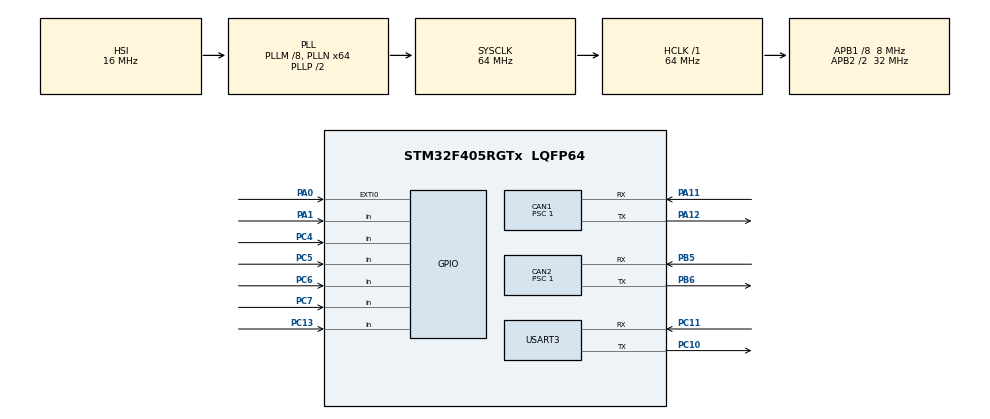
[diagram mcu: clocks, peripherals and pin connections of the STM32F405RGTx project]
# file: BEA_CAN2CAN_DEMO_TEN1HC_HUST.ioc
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CAN1.BS1=CAN_BS1_11TQ
CAN1.BS2=CAN_BS2_4TQ
CAN1.CalculateBaudRate=500000
CAN1.CalculateTimeBit=2000
CAN1.CalculateTimeQuantum=125.0
CAN1.Prescaler=1
CAN1.SJW=CAN_SJW_2TQ
CAN2.BS1=CAN_BS1_11TQ
CAN2.BS2=CAN_BS2_4TQ
CAN2.CalculateBaudRate=500000
CAN2.CalculateTimeBit=2000
CAN2.CalculateTimeQuantum=125.0
CAN2.Prescaler=1
CAN2.SJW=CAN_SJW_2TQ
Mcu.Family=STM32F4
Mcu.Name=STM32F405RGTx
Mcu.Package=LQFP64
NVIC.CAN1_RX0_IRQn=true\:2\:0\:true\:false\:true\:true\:true\:true
NVIC.CAN2_RX0_IRQn=true\:2\:0\:true\:false\:true\:true\:true\:true
NVIC.EXTI0_IRQn=true\:1\:0\:true\:false\:true\:true\:true\:true
NVIC.PriorityGroup=NVIC_PRIORITYGROUP_4
NVIC.TIM2_IRQn=true\:0\:0\:false\:false\:true\:true\:true\:true
NVIC.USART3_IRQn=true\:1\:0\:true\:false\:true\:true\:true\:true
PA0-WKUP.GPIO_ModeDefaultEXTI=GPIO_MODE_IT_FALLING
PA0-WKUP.GPIO_PuPd=GPIO_PULLUP
PA0-WKUP.Signal=GPXTI0
PA1.Signal=GPIO_Input
PA11.Mode=CAN_Activate
PA11.Signal=CAN1_RX
PA12.Mode=CAN_Activate
PA12.Signal=CAN1_TX
PB5.Mode=CAN_Activate
PB5.Signal=CAN2_RX
PB6.Mode=CAN_Activate
PB6.Signal=CAN2_TX
PC10.Mode=Asynchronous
PC10.Signal=USART3_TX
PC11.Mode=Asynchronous
PC11.Signal=USART3_RX
PC13-ANTI_TAMP.GPIO_PuPd=GPIO_PULLUP
PC13-ANTI_TAMP.Signal=GPIO_Input
PC4.GPIO_PuPd=GPIO_PULLUP
PC4.Signal=GPIO_Input
PC5.GPIO_PuPd=GPIO_PULLUP
PC5.Signal=GPIO_Input
PC6.GPIO_PuPd=GPIO_PULLUP
PC6.Signal=GPIO_Input
PC7.GPIO_PuPd=GPIO_PULLUP
PC7.Signal=GPIO_Input
PH0-OSC_IN.Mode=HSE-External-Oscillator
PH0-OSC_IN.Signal=RCC_OSC_IN
PH1-OSC_OUT.Mode=HSE-External-Oscillator
PH1-OSC_OUT.Signal=RCC_OSC_OUT
ProjectManager.HeapSize=0x200
ProjectManager.StackSize=0x400
ProjectManager.TargetToolchain=Makefile
RCC.48MHZClocksFreq_Value=32000000
RCC.AHBFreq_Value=64000000
RCC.APB1CLKDivider=RCC_HCLK_DIV8
RCC.APB1Freq_Value=8000000
RCC.APB1TimFreq_Value=16000000
RCC.APB2CLKDivider=RCC_HCLK_DIV2
RCC.APB2Freq_Value=32000000
RCC.APB2TimFreq_Value=64000000
RCC.CortexFreq_Value=64000000
RCC.HCLKFreq_Value=64000000
RCC.HSE_VALUE=8000000
RCC.HSI_VALUE=16000000
RCC.LSE_VALUE=32768
RCC.PLLM=8
RCC.PLLN=64
RCC.SYSCLKFreq_VALUE=64000000
RCC.SYSCLKSource=RCC_SYSCLKSOURCE_PLLCLK
RCC.VCOOutputFreq_Value=128000000
TIM2.Period=49999
TIM2.Prescaler=7999
USART3.VirtualMode=VM_ASYNC
VP_TIM2_VS_ClockSourceINT.Mode=Internal
board=custom

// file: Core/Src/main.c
/* USER CODE BEGIN Header */
/**
 ******************************************************************************
 * @file           : main.c
 * @brief          : Main program body
 ******************************************************************************
 * @attention
 *
 * Copyright (c) 2024 STMicroelectronics.
 * All rights reserved.
 *
 * This software is licensed under terms that can be found in the LICENSE file
 * in the root directory of this software component.
 * If no LICENSE file comes with this software, it is provided AS-IS.
 *
 ******************************************************************************
 */
/* USER CODE END Header */
#include "main.h"
#include "UDS.h"

CAN_HandleTypeDef hcan1;
CAN_HandleTypeDef hcan2;

TIM_HandleTypeDef htim2;

UART_HandleTypeDef huart3;

/* USER CODE BEGIN PV */
uint8_t uart3_receive;

CAN_TxHeaderTypeDef CAN1_pHeader;
CAN_RxHeaderTypeDef CAN1_pHeaderRx;
CAN_FilterTypeDef CAN1_sFilterConfig;
CAN_TxHeaderTypeDef CAN2_pHeader;
CAN_RxHeaderTypeDef CAN2_pHeaderRx;
CAN_FilterTypeDef CAN2_sFilterConfig;
uint32_t CAN1_pTxMailbox;
uint32_t CAN2_pTxMailbox;

uint16_t NumBytesReq = 0;
uint8_t REQ_BUFFER[4096];
uint8_t REQ_1BYTE_DATA;

uint8_t CAN1_DATA_TX[8] = {0x00, 0x00, 0x00, 0x00, 0x00, 0x00, 0x00, 0x00};
uint8_t CAN1_DATA_RX[8] = {0x00, 0x00, 0x00, 0x00, 0x00, 0x00, 0x00, 0x00};
uint8_t CAN2_DATA_TX[8] = {0x00, 0x00, 0x00, 0x00, 0x00, 0x00, 0x00, 0x00};
uint8_t CAN2_DATA_RX[8] = {0x00, 0x00, 0x00, 0x00, 0x00, 0x00, 0x00, 0x00};

// uint16_t Num_Consecutive_Tester;
// uint8_t Flg_Consecutive = 0;
volatile uint8_t flag_CAN1_Received = 0;
volatile uint8_t flag_CAN2_Received = 0;

unsigned int TimeStamp;
// maximum characters send out via UART is 30
char bufsend[30] = "XXX: D1 D2 D3 D4 D5 D6 D7 D8  ";

/* USER CODE END PV */

void SystemClock_Config(void);
static void MX_GPIO_Init(void);
static void MX_CAN1_Init(void);
static void MX_CAN2_Init(void);
static void MX_USART3_UART_Init(void);
static void MX_TIM2_Init(void);
/* USER CODE BEGIN PFP */

// CAN setup and config functions
void MX_CAN1_Setup();
void MX_CAN2_Setup();
void CAN1_Config();
void CAN2_Config();

// UART send and display functions
void PrintCANLog(uint16_t CANID, uint8_t *CAN_Frame);

void HAL_UART_RxCpltCallback(UART_HandleTypeDef *huart);
/* USER CODE END PFP */

int main(void)
{

  /* MCU Configuration--------------------------------------------------------*/

  /* Reset of all peripherals, Initializes the Flash interface and the Systick. */
  HAL_Init();

  /* Configure the system clock */
  SystemClock_Config();

  /* Initialize all configured peripherals */
  MX_GPIO_Init();
  MX_CAN1_Init();
  MX_CAN2_Init();
  MX_USART3_UART_Init();
  MX_TIM2_Init();
  /* USER CODE BEGIN 2 */
  MX_CAN1_Setup();
  MX_CAN2_Setup();
  CAN1_Config();
  CAN2_Config();

  __HAL_UART_ENABLE_IT(&huart3, UART_IT_RXNE);

  USART3_SendString((uint8_t *)"Coder Lazada\n");
  while (1)
  {
    if (NumBytesReq != 0)
    {
      HAL_Delay(100);
      UART_ReadString(REQ_BUFFER, CAN1_DATA_TX, NumBytesReq);
      CAN1_Send();
      HAL_Delay(100);
      NumBytesReq = 0;
    }

    if (flag_CAN2_Received)
    {
      switch (REQ_BUFFER[0])
      {
      case 0x27:
        SID27_Practice(CAN2_DATA_TX, CAN2_DATA_RX);
        break;
      case 0x22:
        SID22_Practice(CAN2_DATA_TX, CAN2_DATA_RX);
        break;
      case 0x2E:
        SID2E_Practice(CAN2_DATA_TX, CAN2_DATA_RX);
        break;
      default:
        USART3_SendString((uint8_t *)"Service not support\n");
        break;
      }
      flag_CAN2_Received = 0;
    }
    if (flag_CAN1_Received)
    {
      USART3_SendString((uint8_t *)"ECU Response: ");
      PrintCANLog(CAN1_pHeaderRx.StdId, CAN1_DATA_RX);
      flag_CAN1_Received = 0;
    }
    if (!BtnU) /*IG OFF->ON stimulation*/
    {
      HAL_Delay(20);
      USART3_SendString((uint8_t *)"IG OFF ");
      while (!BtnU)
        ;
      CAN1_pHeader.StdId = newStdId;
      CAN2_Config();
      MX_CAN1_Setup();
      MX_CAN2_Setup();
      USART3_SendString((uint8_t *)"-> IG ON \n");
      HAL_Delay(20);
    }
  }

  /* USER CODE END 2 */

  /* Infinite loop */
  /* USER CODE BEGIN WHILE */
  // while (1)
  // {
  /* USER CODE END WHILE */

  /* USER CODE BEGIN 3 */
  // }
  memset(REQ_BUFFER, 0, sizeof(REQ_BUFFER));
  NumBytesReq = 0;
  /* USER CODE END 3 */
}

void SystemClock_Config(void)
{
  RCC_OscInitTypeDef RCC_OscInitStruct = {0};
  RCC_ClkInitTypeDef RCC_ClkInitStruct = {0};

  /** Configure the main internal regulator output voltage
   */
  __HAL_RCC_PWR_CLK_ENABLE();
  __HAL_PWR_VOLTAGESCALING_CONFIG(PWR_REGULATOR_VOLTAGE_SCALE1);

  /** Initializes the RCC Oscillators according to the specified parameters
   * in the RCC_OscInitTypeDef structure.
   */
  RCC_OscInitStruct.OscillatorType = RCC_OSCILLATORTYPE_HSI;
  RCC_OscInitStruct.HSIState = RCC_HSI_ON;
  RCC_OscInitStruct.HSICalibrationValue = RCC_HSICALIBRATION_DEFAULT;
  RCC_OscInitStruct.PLL.PLLState = RCC_PLL_ON;
  RCC_OscInitStruct.PLL.PLLSource = RCC_PLLSOURCE_HSI;
  RCC_OscInitStruct.PLL.PLLM = 8;
  RCC_OscInitStruct.PLL.PLLN = 64;
  RCC_OscInitStruct.PLL.PLLP = RCC_PLLP_DIV2;
  RCC_OscInitStruct.PLL.PLLQ = 4;
  if (HAL_RCC_OscConfig(&RCC_OscInitStruct) != HAL_OK)
  {
    Error_Handler();
  }

  /** Initializes the CPU, AHB and APB buses clocks
   */
  RCC_ClkInitStruct.ClockType = RCC_CLOCKTYPE_HCLK | RCC_CLOCKTYPE_SYSCLK | RCC_CLOCKTYPE_PCLK1 | RCC_CLOCKTYPE_PCLK2;
  RCC_ClkInitStruct.SYSCLKSource = RCC_SYSCLKSOURCE_PLLCLK;
  RCC_ClkInitStruct.AHBCLKDivider = RCC_SYSCLK_DIV1;
  RCC_ClkInitStruct.APB1CLKDivider = RCC_HCLK_DIV8;
  RCC_ClkInitStruct.APB2CLKDivider = RCC_HCLK_DIV2;

  if (HAL_RCC_ClockConfig(&RCC_ClkInitStruct, FLASH_LATENCY_2) != HAL_OK)
  {
    Error_Handler();
  }
}

static void MX_CAN1_Init(void)
{

  hcan1.Instance = CAN1;
  hcan1.Init.Prescaler = 1;
  hcan1.Init.Mode = CAN_MODE_NORMAL;
  hcan1.Init.SyncJumpWidth = CAN_SJW_2TQ;
  hcan1.Init.TimeSeg1 = CAN_BS1_11TQ;
  hcan1.Init.TimeSeg2 = CAN_BS2_4TQ;
  hcan1.Init.TimeTriggeredMode = DISABLE;
  hcan1.Init.AutoBusOff = DISABLE;
  hcan1.Init.AutoWakeUp = DISABLE;
  hcan1.Init.AutoRetransmission = DISABLE;
  hcan1.Init.ReceiveFifoLocked = DISABLE;
  hcan1.Init.TransmitFifoPriority = DISABLE;
  if (HAL_CAN_Init(&hcan1) != HAL_OK)
  {
    Error_Handler();
  }
}

static void MX_CAN2_Init(void)
{

  hcan2.Instance = CAN2;
  hcan2.Init.Prescaler = 1;
  hcan2.Init.Mode = CAN_MODE_NORMAL;
  hcan2.Init.SyncJumpWidth = CAN_SJW_2TQ;
  hcan2.Init.TimeSeg1 = CAN_BS1_11TQ;
  hcan2.Init.TimeSeg2 = CAN_BS2_4TQ;
  hcan2.Init.TimeTriggeredMode = DISABLE;
  hcan2.Init.AutoBusOff = DISABLE;
  hcan2.Init.AutoWakeUp = DISABLE;
  hcan2.Init.AutoRetransmission = DISABLE;
  hcan2.Init.ReceiveFifoLocked = DISABLE;
  hcan2.Init.TransmitFifoPriority = DISABLE;
  if (HAL_CAN_Init(&hcan2) != HAL_OK)
  {
    Error_Handler();
  }
}

static void MX_TIM2_Init(void)
{

  TIM_ClockConfigTypeDef sClockSourceConfig = {0};
  TIM_MasterConfigTypeDef sMasterConfig = {0};

  htim2.Instance = TIM2;
  htim2.Init.Prescaler = 7999;
  htim2.Init.CounterMode = TIM_COUNTERMODE_UP;
  htim2.Init.Period = 49999;
  htim2.Init.ClockDivision = TIM_CLOCKDIVISION_DIV1;
  htim2.Init.AutoReloadPreload = TIM_AUTORELOAD_PRELOAD_DISABLE;
  if (HAL_TIM_Base_Init(&htim2) != HAL_OK)
  {
    Error_Handler();
  }
  sClockSourceConfig.ClockSource = TIM_CLOCKSOURCE_INTERNAL;
  if (HAL_TIM_ConfigClockSource(&htim2, &sClockSourceConfig) != HAL_OK)
  {
    Error_Handler();
  }
  sMasterConfig.MasterOutputTrigger = TIM_TRGO_RESET;
  sMasterConfig.MasterSlaveMode = TIM_MASTERSLAVEMODE_DISABLE;
  if (HAL_TIMEx_MasterConfigSynchronization(&htim2, &sMasterConfig) != HAL_OK)
  {
    Error_Handler();
  }
}

static void MX_USART3_UART_Init(void)
{

  huart3.Instance = USART3;
  huart3.Init.BaudRate = 115200;
  huart3.Init.WordLength = UART_WORDLENGTH_8B;
  huart3.Init.StopBits = UART_STOPBITS_1;
  huart3.Init.Parity = UART_PARITY_NONE;
  huart3.Init.Mode = UART_MODE_TX_RX;
  huart3.Init.HwFlowCtl = UART_HWCONTROL_NONE;
  huart3.Init.OverSampling = UART_OVERSAMPLING_16;
  if (HAL_UART_Init(&huart3) != HAL_OK)
  {
    Error_Handler();
  }
}

static void MX_GPIO_Init(void)
{
  GPIO_InitTypeDef GPIO_InitStruct = {0};

  /* GPIO Ports Clock Enable */
  __HAL_RCC_GPIOC_CLK_ENABLE();
  __HAL_RCC_GPIOH_CLK_ENABLE();
  __HAL_RCC_GPIOA_CLK_ENABLE();
  __HAL_RCC_GPIOB_CLK_ENABLE();

  /*Configure GPIO pins : PC13 PC4 PC5 PC6
                           PC7 */
  GPIO_InitStruct.Pin = GPIO_PIN_13 | GPIO_PIN_4 | GPIO_PIN_5 | GPIO_PIN_6 | GPIO_PIN_7;
  GPIO_InitStruct.Mode = GPIO_MODE_INPUT;
  GPIO_InitStruct.Pull = GPIO_PULLUP;
  HAL_GPIO_Init(GPIOC, &GPIO_InitStruct);

  /*Configure GPIO pin : PA0 */
  GPIO_InitStruct.Pin = GPIO_PIN_0;
  GPIO_InitStruct.Mode = GPIO_MODE_IT_FALLING;
  GPIO_InitStruct.Pull = GPIO_PULLUP;
  HAL_GPIO_Init(GPIOA, &GPIO_InitStruct);

  /*Configure GPIO pin : PA1 */
  GPIO_InitStruct.Pin = GPIO_PIN_1;
  GPIO_InitStruct.Mode = GPIO_MODE_INPUT;
  GPIO_InitStruct.Pull = GPIO_NOPULL;
  HAL_GPIO_Init(GPIOA, &GPIO_InitStruct);

  /* EXTI interrupt init*/
  HAL_NVIC_SetPriority(EXTI0_IRQn, 1, 0);
  HAL_NVIC_EnableIRQ(EXTI0_IRQn);

}

/* USER CODE BEGIN 4 */

void CAN1_Config()
{
  CAN1_pHeader.IDE = CAN_ID_STD;
  CAN1_pHeader.StdId = 0x7FF;
  CAN1_pHeader.RTR = CAN_RTR_DATA;
  CAN1_pHeader.DLC = 8;
  CAN1_sFilterConfig.FilterActivation = CAN_FILTER_ENABLE;
  CAN1_sFilterConfig.FilterBank = 14;
  CAN1_sFilterConfig.FilterFIFOAssignment = CAN_FILTER_FIFO0;
  CAN1_sFilterConfig.FilterIdHigh = 0x0A2 << 5;
  CAN1_sFilterConfig.FilterIdLow = 0;
  CAN1_sFilterConfig.FilterMaskIdHigh = 0x0A2 << 5;
  CAN1_sFilterConfig.FilterMaskIdLow = 0;
  CAN1_sFilterConfig.FilterMode = CAN_FILTERMODE_IDMASK;
  CAN1_sFilterConfig.FilterScale = CAN_FILTERSCALE_32BIT;
  CAN1_sFilterConfig.SlaveStartFilterBank = 16;
  HAL_CAN_ConfigFilter(&hcan1, &CAN1_sFilterConfig);
}

void CAN2_Config()
{
  CAN2_pHeader.IDE = CAN_ID_STD;
  CAN2_pHeader.StdId = 0x0A2;
  CAN2_pHeader.RTR = CAN_RTR_DATA;
  CAN2_pHeader.DLC = 8;
  CAN2_sFilterConfig.FilterActivation = CAN_FILTER_ENABLE;
  CAN2_sFilterConfig.FilterBank = 18;
  CAN2_sFilterConfig.FilterFIFOAssignment = CAN_FILTER_FIFO0;
  CAN2_sFilterConfig.FilterIdHigh = CAN1_pHeader.StdId << 5;
  CAN2_sFilterConfig.FilterIdLow = 0;
  CAN2_sFilterConfig.FilterMaskIdHigh = CAN1_pHeader.StdId << 5;
  CAN2_sFilterConfig.FilterMaskIdLow = 0;
  CAN2_sFilterConfig.FilterMode = CAN_FILTERMODE_IDMASK;
  CAN2_sFilterConfig.FilterScale = CAN_FILTERSCALE_32BIT;
  HAL_CAN_ConfigFilter(&hcan2, &CAN2_sFilterConfig);
}

void MX_CAN1_Setup()
{
  HAL_CAN_ConfigFilter(&hcan1, &CAN1_sFilterConfig);
  HAL_CAN_Start(&hcan1);
  HAL_CAN_ActivateNotification(&hcan1, CAN_IT_RX_FIFO0_MSG_PENDING);
}
void MX_CAN2_Setup()
{
  HAL_CAN_ConfigFilter(&hcan2, &CAN2_sFilterConfig);
  HAL_CAN_Start(&hcan2);
  HAL_CAN_ActivateNotification(&hcan2, CAN_IT_RX_FIFO0_MSG_PENDING);
}

void USART3_SendString(uint8_t *ch)
{
  while (*ch != 0)
  {
    HAL_UART_Transmit(&huart3, ch, 1, HAL_MAX_DELAY);
    ch++;
  }
}

void PrintCANLog(uint16_t CANID, uint8_t *CAN_Frame)
{
  uint16_t loopIndx = 0;
  char bufID[3] = "   ";
  char bufDat[2] = "  ";
  char bufTime[8] = "        ";

  sprintf(bufTime, "%d", TimeStamp);
  USART3_SendString((uint8_t *)bufTime);
  USART3_SendString((uint8_t *)" ");

  sprintf(bufID, "%03X", CANID);
  for (loopIndx = 0; loopIndx < 3; loopIndx++)
  {
    bufsend[loopIndx] = bufID[loopIndx];
  }
  bufsend[3] = ':';
  bufsend[4] = ' ';

  for (loopIndx = 0; loopIndx < 8; loopIndx++)
  {
    sprintf(bufDat, "%02X", CAN_Frame[loopIndx]);
    bufsend[loopIndx * 3 + 5] = bufDat[0];
    bufsend[loopIndx * 3 + 6] = bufDat[1];
    bufsend[loopIndx * 3 + 7] = ' ';
  }
  bufsend[29] = '\n';
  USART3_SendString((unsigned char *)bufsend);
}
/* USER CODE END 4 */

void HAL_CAN_RxFifo0MsgPendingCallback(CAN_HandleTypeDef *hcan)
{
  HAL_StatusTypeDef ret;
  if (hcan == &hcan1)
  {
    ret = HAL_CAN_GetRxMessage(hcan, CAN_RX_FIFO0, &CAN1_pHeaderRx,
                               CAN1_DATA_RX);
    if (ret != HAL_OK)
    {
      Error_Handler();
    }
    flag_CAN1_Received = 1;
    return;
  }
  if (hcan == &hcan2)
  {
    ret = HAL_CAN_GetRxMessage(hcan, CAN_RX_FIFO0, &CAN2_pHeaderRx,
                               CAN2_DATA_RX);
    if (ret != HAL_OK)
    {
      Error_Handler();
    }
    flag_CAN2_Received = 1;
    return;
  }
}

void HAL_UART_RxCpltCallback(UART_HandleTypeDef *huart)
{
  REQ_BUFFER[NumBytesReq] = REQ_1BYTE_DATA;
  NumBytesReq++;
  // REQ_BUFFER[7] = NumBytesReq;
}
void Error_Handler(void)
{
  /* USER CODE BEGIN Error_Handler_Debug */
  /* User can add his own implementation to report the HAL error return state */
  __disable_irq();
  USART3_SendString((uint8_t *)"Error");
  while (1)
  {
  }
  /* USER CODE END Error_Handler_Debug */
}
